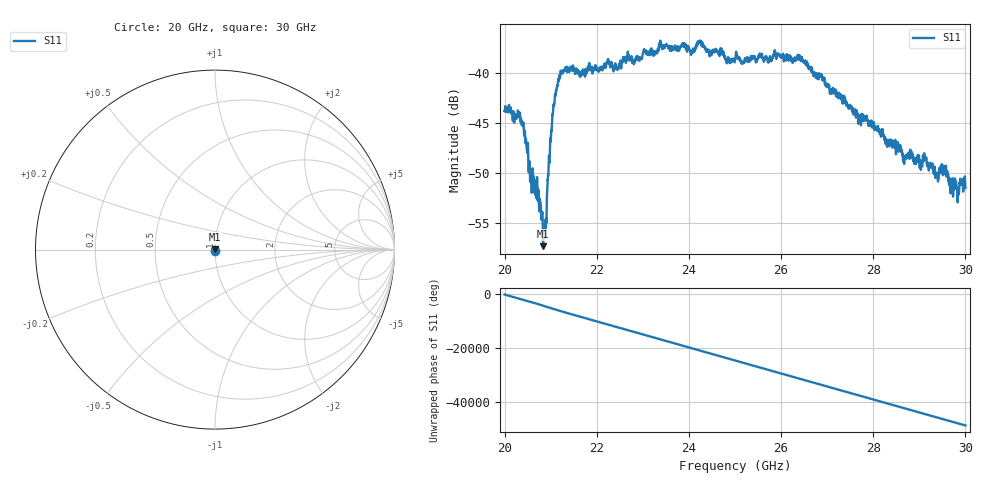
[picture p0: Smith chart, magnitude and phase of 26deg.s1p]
#  HZ  S  RI  R  50.00
! Rohde & Schwarz ZVA40 4Ports - Version 3.90 - 1145.1110k42 SN: 100403
! Date: 2023-10-03 11:44:44
! Measurement: S12
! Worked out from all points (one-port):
!   5001 points, 20 GHz to 30 GHz, reference 50 ohm
!   lowest |S11| = -57.3 dB at 20.83 GHz (marker M1), VSWR 1.00, Z = 50 + j0.13 ohm
!   |S11| at or under -10 dB: start of sweep to end of sweep
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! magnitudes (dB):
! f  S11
! 20 GHz  -43.8
! 20.37 GHz  -44.8
! 20.46 GHz  -46.6
! 20.54 GHz  -49.4
! 20.74 GHz  -52.7
! 20.83 GHz  -57.3
! 20.88 GHz  -55.1
! 20.99 GHz  -46.5
! 21.07 GHz  -43.1
! 21.17 GHz  -40.8
! 21.25 GHz  -40.0
! 22.5 GHz  -39.1
! 23.39 GHz  -37.3
! 23.75 GHz  -37.4
! 24.08 GHz  -37.9
! 24.24 GHz  -36.8
! 24.43 GHz  -37.8
! 25 GHz  -38.8
! 26.25 GHz  -39.0
! 26.44 GHz  -38.8
! 27.5 GHz  -43.2
! 28.68 GHz  -48.9
! 28.75 GHz  -48.2
! 29.12 GHz  -48.6
! 29.37 GHz  -50.1
! 29.53 GHz  -49.7
! 29.83 GHz  -52.8
! 30 GHz  -51.5
